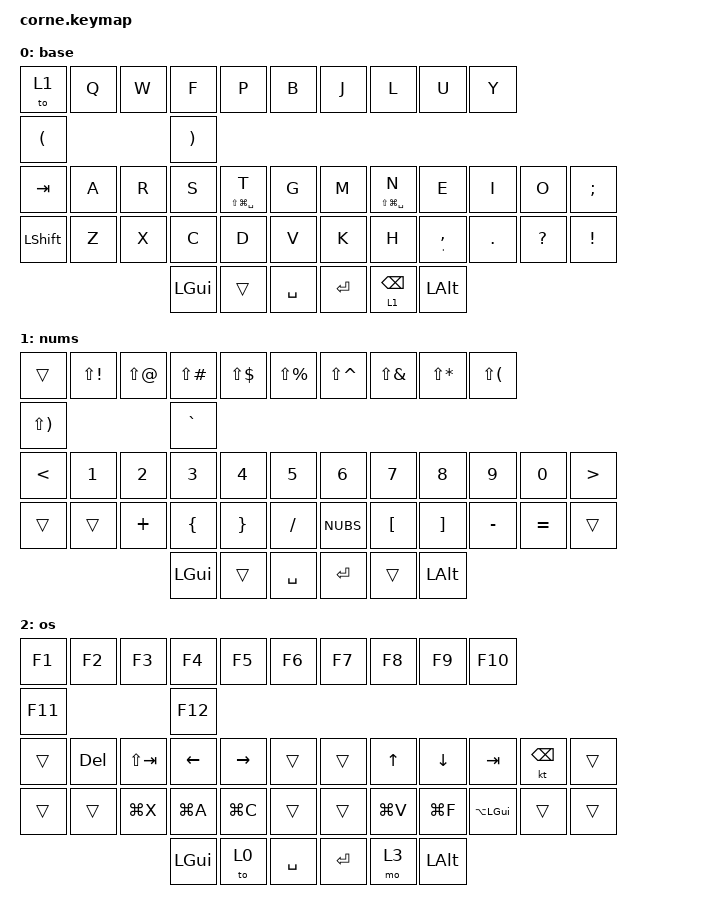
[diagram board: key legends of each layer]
#include <behaviors.dtsi>
#include <dt-bindings/zmk/bt.h>
#include <dt-bindings/zmk/keys.h>
#include <dt-bindings/zmk/rgb.h>

// dt-formatter: indent = "  "
// dt-formatter: multilineIntegerCellsIndent = "reindent"
// dt-formatter: multilineListCommaStyle = "leading"

&sk {
  /delete-property/ ignore-modifiers;
};

/ {
  combos {
    compatible = "zmk,combos";

    tab {
      key-positions = <2 3>;
      bindings = <&kp TAB>;
    };

    ctrl {
      key-positions = <26 27>;
      bindings = <&kp LCTRL>;
    };

    cmd {
      key-positions = <37 38>;
      bindings = <&kp LCMD>;
    };

    alt {
      key-positions = <39 40>;
      bindings = <&kp LEFT_ALT>;
    };

    shift {
      key-positions = <8 9>;
      bindings = <&kp LSHIFT>;
    };

    caps_word {
      key-positions = <17 18>;
      bindings = <&caps_word>;
    };

    delete {
      key-positions = <32 33>;
      bindings = <&kp DEL>;
    };
  };

  macros {
    greeting: greeting {
      compatible = "zmk,behavior-macro";
      #binding-cells = <0>;
      label = "greeting";
      bindings = <&kp H &kp E &kp L &kp L &kp O>;
    };
    rgblayer: rgb_layer {
      compatible = "zmk,behavior-macro-two-param";
      #binding-cells = <2>;
      label = "MOMENTARY_LAYER_WITH_RGB_COLOR";
      bindings
        = <&macro_param_2to2 &rgb_ug RGB_COLOR_HSB_CMD MACRO_PLACEHOLDER &macro_param_1to1>
        , <&macro_press>
        , <&mo MACRO_PLACEHOLDER>
        , <&macro_pause_for_release>
        , <&macro_release>
        , <&macro_param_1to1 &mo 0>
        , <&macro_tap>
        , <&rgb_ug RGB_TOG>
        ;
    };
    shift: with_lshift {
      compatible = "zmk,behavior-macro-one-param";
      #binding-cells = <1>;
      label = "KEY_PRESS_WITH_LEFT_SHIFT_MODIFIER";
      bindings
        = <&macro_press>
        , <&kp LSHFT>
        , <&macro_tap>
        , <&macro_param_1to1 &kp MACRO_PLACEHOLDER>
        , <&macro_release>
        , <&kp LSHFT>
        ;
    };
    as: autoshift {
      compatible = "zmk,behavior-macro-one-param";
      #binding-cells = <1>;
      label = "AUTOSHIFT_KEYPRESS";
      bindings
        = <&macro_press>
        , <&macro_param_1to1 &macro_param_1to2 &as_ht MACRO_PLACEHOLDER MACRO_PLACEHOLDER>
        , <&macro_pause_for_release>
        , <&macro_release>
        , <&macro_param_1to1 &macro_param_1to2 &as_ht MACRO_PLACEHOLDER MACRO_PLACEHOLDER>
        ;
    };
  };

  behaviors {
    as_ht: autoshift_hold_tap {
      compatible = "zmk,behavior-hold-tap";
      #binding-cells = <2>;
      label = "AUTOSHIFT_HOLD_TAP";
      bindings = <&shift>, <&kp>;

      tapping-term-ms = <190>;
    };
    hml: homewrow_mods_left {
      compatible = "zmk,behavior-hold-tap";
      #binding-cells = <2>;
      label = "HOMEROW_MODS_LEFT_HAND";
      bindings = <&kp>, <&kp>;
      tapping-term-ms = <200>;

      hold-trigger-key-positions = <6 7 8 9 10 11 18 19 20 21 22 23 30 31 32 33 34 35 39 40 41>;
    };
    hmr: homewrow_mods_right {
      compatible = "zmk,behavior-hold-tap";
      #binding-cells = <2>;
      label = "HOMEROW_MODS_RIGHT_HAND";
      bindings = <&kp>, <&kp>;
      tapping-term-ms = <200>;

      hold-trigger-key-positions = <0 1 2 3 4 5 12 13 14 15 16 17 24 25 26 27 28 29 36 37 38>;
    };
    capdance: capdance {
      compatible = "zmk,behavior-tap-dance";
      label = "CAPDANCE";
      #binding-cells = <0>;
      bindings = <&caps_word>, <&kp CAPS>;
    };
    volknob: volume_encoder {
      compatible = "zmk,behavior-sensor-rotate";
      label = "ENCODER_VOLUME_KNOB";
      #sensor-binding-cells = <0>;
      bindings = <&kp C_VOL_UP>, <&kp C_VOL_DN>;
    };
    rgbknob: rgb_encoder {
      compatible = "zmk,behavior-sensor-rotate-var";
      label = "ENCODER_RGB";
      #sensor-binding-cells = <2>;
      bindings = <&rgb_ug>, <&rgb_ug>;
    };
  };

  conditional_layers {
    compatible = "zmk,conditional-layers";

    tri_layer {
      if-layers = <1 2>;
      then-layer = <3>;
    };
  };

  keymap {
          compatible = "zmk,keymap";

          base {
              bindings = <
            &to 1     &kp Q  &kp W  &kp F     &kp P                 &kp B        &kp J    &kp L                 &kp U           &kp
            Y    &kp LEFT_PARENTHESIS  &kp RIGHT_PARENTHESIS
            &kp TAB    &kp A  &kp R  &kp S     &hml LS(LG(SPACE)) T  &kp G        &kp M    &hml LS(LG(SPACE)) N  &kp E           &kp I    &kp O                 &kp SEMI
            &kp LSHFT  &kp Z  &kp X  &kp C     &kp D                 &kp V        &kp K    &kp H                 &hml SQT COMMA  &kp DOT  &kp QUESTION          &kp EXCLAMATION
                                     &kp LGUI  &trans                &kp SPACE    &kp RET  &lt 1 BACKSPACE       &kp LALT
                  >;
          };

          nums {
                      bindings = <
          &trans         &kp LS(EXCL)   &kp LS(AT)   &kp LS(POUND)   &kp LS(DLLR)     &kp LS(PRCNT)    &kp LS(CARET)  &kp LS(AMPS)
          &kp LS(STAR)  &kp LS(LPAR)  &kp LS(RPAR)  &kp GRAVE
          &kp LESS_THAN  &kp N1         &kp N2       &kp N3          &kp N4           &kp N5           &kp N6         &kp N7        &kp N8        &kp N9        &kp N0        &kp GREATER_THAN
          &trans        &trans  &kp PLUS  &kp LEFT_BRACE  &kp RIGHT_BRACE  &kp FSLH         &kp NUBS       &kp LBKT
          &kp RBKT      &kp MINUS     &kp EQUAL     &trans
                                                     &kp LGUI        &trans           &kp SPACE        &kp RET        &trans        &kp LALT
                      >;
                  };

          os {
                      bindings = <
          &kp F1  &kp F2      &kp F3       &kp F4     &kp F5     &kp F6       &kp F7     &kp F8     &kp F9     &kp F10       &kp F11        &kp F12
          &trans  &kp DELETE  &kp LS(TAB)  &kp LEFT   &kp RIGHT  &trans       &trans     &kp UP     &kp DOWN   &kp TAB       &kt BACKSPACE  &trans
          &trans  &trans      &kp LG(X)    &kp LG(A)  &kp LG(C)  &trans       &trans     &kp LG(V)  &kp LG(F)  &kp LA(LGUI)  &trans         &trans
                                           &kp LGUI   &to 0      &kp SPACE    &kp ENTER  &mo 3      &kp LALT
                      >;
                  };
      };
};
